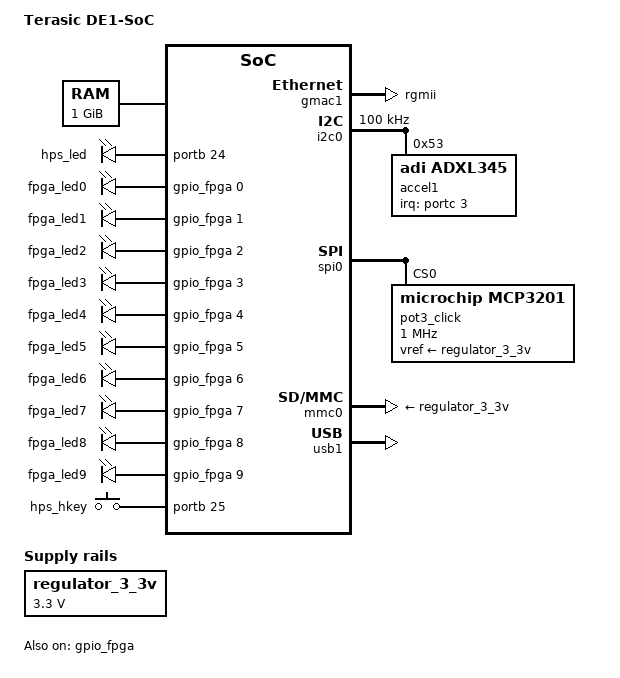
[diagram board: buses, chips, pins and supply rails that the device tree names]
// SPDX-License-Identifier: GPL-2.0+
/*
 * Copyright (C) 2013 Steffen Trumtrar <s.trumtrar@pengutronix.de>
 */

#include "socfpga_cyclone5.dtsi"

/ {
	model = "Terasic DE1-SoC";
	compatible = "terasic,socfpga-cyclone5-sockit", "altr,socfpga-cyclone5", "altr,socfpga";

	chosen {
		bootargs = "earlyprintk";
		stdout-path = "serial0:115200n8";
	};

	memory@0 {
		name = "memory";
		device_type = "memory";
		reg = <0x0 0x40000000>; /* 1GB */
	};

	aliases {
		/* this allow the ethaddr uboot environmnet variable contents
		 * to be added to the gmac1 device tree blob.
		 */
		ethernet0 = &gmac1;
	};

	leds {
		compatible = "gpio-leds";

		hps_led {
			label = "hps_led";
			gpios = <&portb 24 0>;	/* HPS_GPIO53 */
			linux,default-trigger = "heartbeat";
		};

		fpga_led0 {
			label = "fpga_led0";
			gpios = <&gpio_fpga 0 0>;
		};
		
		fpga_led1 {
			label = "fpga_led1";
			gpios = <&gpio_fpga 1 0>;
		};
		
		fpga_led2 {
			label = "fpga_led2";
			gpios = <&gpio_fpga 2 0>;
		};
		
		fpga_led3 {
			label = "fpga_led3";
			gpios = <&gpio_fpga 3 0>;
		};
		
		fpga_led4 {
			label = "fpga_led4";
			gpios = <&gpio_fpga 4 0>;
		};
		
		fpga_led5 {
			label = "fpga_led5";
			gpios = <&gpio_fpga 5 0>;
		};
		
		fpga_led6 {
			label = "fpga_led6";
			gpios = <&gpio_fpga 6 0>;
		};
		
		fpga_led7 {
			label = "fpga_led7";
			gpios = <&gpio_fpga 7 0>;
		};
		
		fpga_led8 {
			label = "fpga_led8";
			gpios = <&gpio_fpga 8 0>;
		};
		
		fpga_led9 {
			label = "fpga_led9";
			gpios = <&gpio_fpga 9 0>;
		};

	};
	soc {
		gpio_fpga: gpio@ff200070 {
			compatible = "altr,pio-1.0";
			reg = <0xff200070 0x10>;
			altr,ngpio = <10>;
			#gpio-cells = <2>;
			gpio-controller;
			status = "okay";
		};
	};

	gpio-keys {
		compatible = "gpio-keys";

		hps_hkey {
			label = "hps_hkey";
			gpios = <&portb 25 0>;	/* HPS_GPI8 */
			linux,code = <16>;	/* KEY_F17 */
		};
	};

	regulator_3_3v: regulator {
		compatible = "regulator-fixed";
		regulator-name = "VCC3P3";
		regulator-min-microvolt = <3300000>;
		regulator-max-microvolt = <3300000>;
	};
};

&gmac1 {
	status = "okay";
	phy-mode = "rgmii";

	rxd0-skew-ps = <0>;
	rxd1-skew-ps = <0>;
	rxd2-skew-ps = <0>;
	rxd3-skew-ps = <0>;
	txen-skew-ps = <0>;
	txc-skew-ps = <2600>;
	rxdv-skew-ps = <0>;
	rxc-skew-ps = <2000>;
};

&gpio0 {	/* GPIO 0..29 */
	status = "okay";
};

&gpio1 {	/* GPIO 30..57 */
	status = "okay";
};

&gpio2 {	/* GPIO 58..66 (HLGPI 0..13 at offset 13) */
	status = "okay";
};

&i2c0 {
	status = "okay";
	clock-frequency = <100000>;

	accel1: accelerometer@53 {
		compatible = "adi,adxl345";
		reg = <0x53>;

		interrupt-parent = <&portc>;
		interrupts = <3 2>;
	};
};
&spi0 {
        status = "okay";
        #address-cells = <1>;
        #size-cells = <0>;
        num-cs = <1>;

        pot3_click: adc@0 {
              compatible = "microchip,mcp3201";
              reg = <0>;
              spi-max-frequency = <1000000>;
              vref-supply = <&regulator_3_3v>;
        };
};
&mmc0 {
	vmmc-supply = <&regulator_3_3v>;
	vqmmc-supply = <&regulator_3_3v>;
	status = "okay";
};

&usb1 {
	status = "okay";
};
